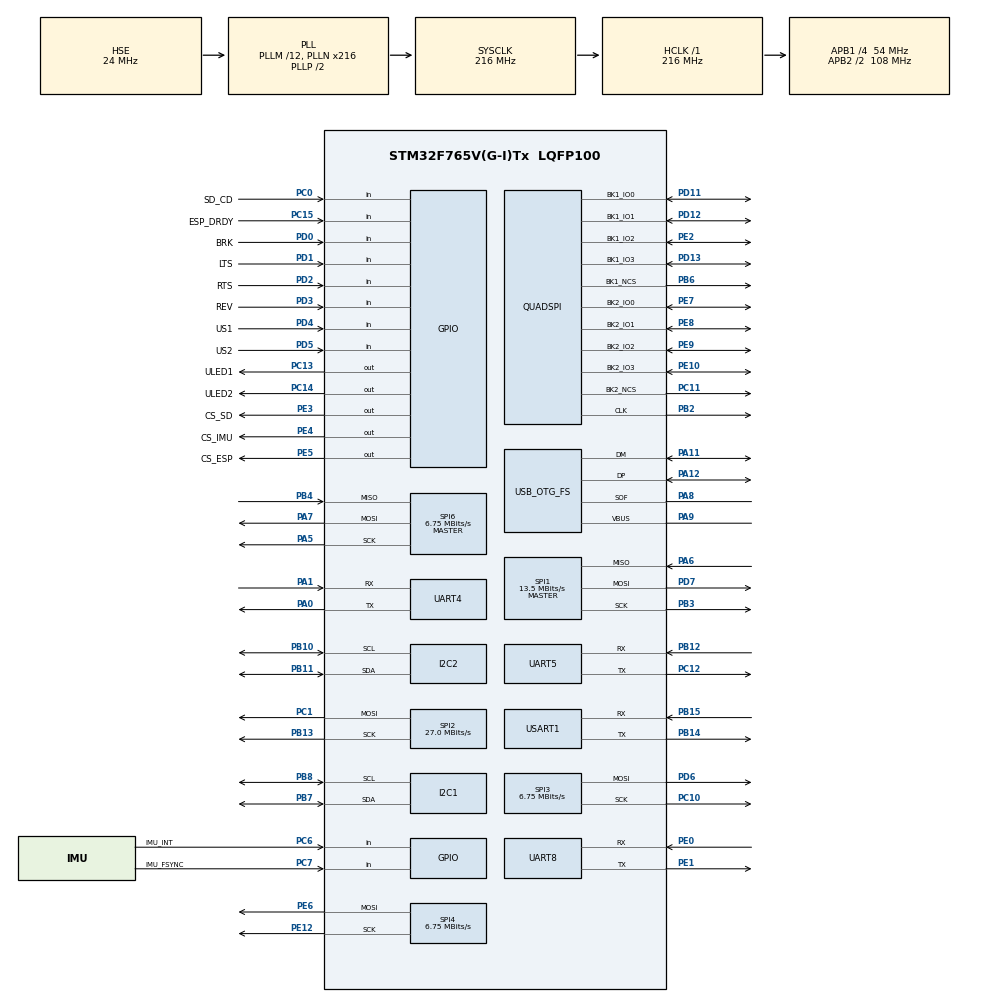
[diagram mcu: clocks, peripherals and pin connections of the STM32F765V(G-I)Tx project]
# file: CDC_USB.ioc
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FREERTOS.Tasks01=defaultTask,0,128,StartDefaultTask,Default,NULL
I2C1.Timing=0x20404768
I2C2.Timing=0x20404768
Mcu.Family=STM32F7
Mcu.Name=STM32F765V(G-I)Tx
Mcu.Package=LQFP100
NVIC.FLASH_IRQn=true\:5\:0\:false\:false\:true\:true\:true
NVIC.FPU_IRQn=true\:5\:0\:false\:false\:true\:true\:true
NVIC.I2C1_ER_IRQn=true\:5\:0\:false\:false\:true\:true\:true
NVIC.I2C1_EV_IRQn=true\:5\:0\:false\:false\:true\:true\:true
NVIC.I2C2_ER_IRQn=true\:5\:0\:false\:false\:true\:true\:true
NVIC.I2C2_EV_IRQn=true\:5\:0\:false\:false\:true\:true\:true
NVIC.OTG_FS_IRQn=true\:5\:0\:false\:false\:true\:true\:false
NVIC.PVD_IRQn=true\:5\:0\:false\:false\:true\:true\:true
NVIC.PriorityGroup=NVIC_PRIORITYGROUP_4
NVIC.QUADSPI_IRQn=true\:5\:0\:false\:false\:true\:true\:true
NVIC.RCC_IRQn=true\:5\:0\:false\:false\:true\:true\:true
NVIC.SPI1_IRQn=true\:5\:0\:false\:false\:true\:true\:true
NVIC.SPI2_IRQn=true\:5\:0\:false\:false\:true\:true\:true
NVIC.SPI3_IRQn=true\:5\:0\:false\:false\:true\:true\:true
NVIC.SPI4_IRQn=true\:5\:0\:false\:false\:true\:true\:true
NVIC.SPI6_IRQn=true\:5\:0\:false\:false\:true\:true\:true
NVIC.TIM7_IRQn=true\:0\:0\:false\:false\:true\:false\:false
NVIC.TimeBase=TIM7_IRQn
NVIC.TimeBaseIP=TIM7
NVIC.UART4_IRQn=true\:5\:0\:false\:false\:true\:true\:true
NVIC.UART5_IRQn=true\:5\:0\:false\:false\:true\:true\:true
NVIC.UART8_IRQn=true\:5\:0\:false\:false\:true\:true\:true
NVIC.USART1_IRQn=true\:5\:0\:false\:false\:true\:true\:true
PA0/WKUP.Mode=Asynchronous
PA0/WKUP.Signal=UART4_TX
PA1.Mode=Asynchronous
PA1.Signal=UART4_RX
PA11.Mode=Device_Only
PA11.Signal=USB_OTG_FS_DM
PA12.Mode=Device_Only
PA12.Signal=USB_OTG_FS_DP
PA13.Mode=Serial_Wire
PA13.Signal=SYS_JTMS-SWDIO
PA14.Mode=Serial_Wire
PA14.Signal=SYS_JTCK-SWCLK
PA5.Mode=Full_Duplex_Master
PA5.Signal=SPI6_SCK
PA6.Mode=Full_Duplex_Master
PA6.Signal=SPI1_MISO
PA7.Mode=Full_Duplex_Master
PA7.Signal=SPI6_MOSI
PA8.Mode=Activate_SOF_FS
PA8.Signal=USB_OTG_FS_SOF
PA9.Mode=Activate_VBUS
PA9.Signal=USB_OTG_FS_VBUS
PB10.Mode=I2C
PB10.Signal=I2C2_SCL
PB11.Mode=I2C
PB11.Signal=I2C2_SDA
PB12.Mode=Asynchronous
PB12.Signal=UART5_RX
PB13.Mode=TX_Only_Simplex_Unidirect_Master
PB13.Signal=SPI2_SCK
PB14.Mode=Asynchronous
PB14.Signal=USART1_TX
PB15.Mode=Asynchronous
PB15.Signal=USART1_RX
PB2.Mode=Dual Bank
PB2.Signal=QUADSPI_CLK
PB3.Mode=Full_Duplex_Master
PB3.Signal=SPI1_SCK
PB4.Mode=Full_Duplex_Master
PB4.Signal=SPI6_MISO
PB6.Mode=Enable Chip Select for each bank
PB6.Signal=QUADSPI_BK1_NCS
PB7.Mode=I2C
PB7.Signal=I2C1_SDA
PB8.Mode=I2C
PB8.Signal=I2C1_SCL
PC0.GPIO_Label=SD_CD
PC0.Signal=GPIO_Input
PC1.Mode=TX_Only_Simplex_Unidirect_Master
PC1.Signal=SPI2_MOSI
PC10.Mode=TX_Only_Simplex_Unidirect_Master
PC10.Signal=SPI3_SCK
PC11.Mode=Enable Chip Select for each bank
PC11.Signal=QUADSPI_BK2_NCS
PC12.Mode=Asynchronous
PC12.Signal=UART5_TX
PC13.GPIO_Label=ULED1
PC13.PinState=GPIO_PIN_SET
PC13.Signal=GPIO_Output
PC14/OSC32_IN.GPIO_Label=ULED2
PC14/OSC32_IN.GPIO_PuPd=GPIO_NOPULL
PC14/OSC32_IN.PinState=GPIO_PIN_SET
PC14/OSC32_IN.Signal=GPIO_Output
PC15/OSC32_OUT.GPIO_Label=ESP_DRDY
PC15/OSC32_OUT.Signal=GPIO_Input
PC6.GPIO_Label=IMU_INT
PC6.Signal=GPIO_Input
PC7.GPIO_Label=IMU_FSYNC
PC7.Signal=GPIO_Input
PD0.GPIO_Label=BRK
PD0.Signal=GPIO_Input
PD1.GPIO_Label=LTS
PD1.Signal=GPIO_Input
PD11.Mode=Dual Bank
PD11.Signal=QUADSPI_BK1_IO0
PD12.Mode=Dual Bank
PD12.Signal=QUADSPI_BK1_IO1
PD13.Mode=Dual Bank
PD13.Signal=QUADSPI_BK1_IO3
PD2.GPIO_Label=RTS
PD2.Signal=GPIO_Input
PD3.GPIO_Label=REV
PD3.Signal=GPIO_Input
PD4.GPIO_Label=US1
PD4.Signal=GPIO_Input
PD5.GPIO_Label=US2
PD5.Signal=GPIO_Input
PD6.Mode=TX_Only_Simplex_Unidirect_Master
PD6.Signal=SPI3_MOSI
PD7.Mode=Full_Duplex_Master
PD7.Signal=SPI1_MOSI
PE0.Mode=Asynchronous
PE0.Signal=UART8_RX
PE1.Mode=Asynchronous
PE1.Signal=UART8_TX
PE10.Mode=Dual Bank
PE10.Signal=QUADSPI_BK2_IO3
PE12.Mode=TX_Only_Simplex_Unidirect_Master
PE12.Signal=SPI4_SCK
PE2.Mode=Dual Bank
PE2.Signal=QUADSPI_BK1_IO2
PE3.GPIO_Label=CS_SD
PE3.GPIO_Speed=GPIO_SPEED_FREQ_VERY_HIGH
PE3.PinState=GPIO_PIN_SET
PE3.Signal=GPIO_Output
PE4.GPIO_Label=CS_IMU
PE4.GPIO_PuPd=GPIO_NOPULL
PE4.GPIO_Speed=GPIO_SPEED_FREQ_VERY_HIGH
PE4.PinState=GPIO_PIN_SET
PE4.Signal=GPIO_Output
PE5.GPIO_Label=CS_ESP
PE5.GPIO_PuPd=GPIO_NOPULL
PE5.GPIO_Speed=GPIO_SPEED_FREQ_VERY_HIGH
PE5.PinState=GPIO_PIN_SET
PE5.Signal=GPIO_Output
PE6.Mode=TX_Only_Simplex_Unidirect_Master
PE6.Signal=SPI4_MOSI
PE7.Mode=Dual Bank
PE7.Signal=QUADSPI_BK2_IO0
PE8.Mode=Dual Bank
PE8.Signal=QUADSPI_BK2_IO1
PE9.Mode=Dual Bank
PE9.Signal=QUADSPI_BK2_IO2
PH0/OSC_IN.Mode=HSE-External-Oscillator
PH0/OSC_IN.Signal=RCC_OSC_IN
PH1/OSC_OUT.Mode=HSE-External-Oscillator
PH1/OSC_OUT.Signal=RCC_OSC_OUT
ProjectManager.HeapSize=0x200
ProjectManager.StackSize=0x400
ProjectManager.TargetToolchain=TrueSTUDIO
QUADSPI.ClockMode=QSPI_CLOCK_MODE_3
QUADSPI.ClockPrescaler=64
RCC.AHBFreq_Value=216000000
RCC.APB1CLKDivider=RCC_HCLK_DIV4
RCC.APB1Freq_Value=54000000
RCC.APB1TimFreq_Value=108000000
RCC.APB2CLKDivider=RCC_HCLK_DIV2
RCC.APB2Freq_Value=108000000
RCC.APB2TimFreq_Value=216000000
RCC.CortexFreq_Value=216000000
RCC.HCLKFreq_Value=216000000
RCC.HSE_VALUE=24000000
RCC.HSI_VALUE=16000000
RCC.LSE_VALUE=32768
RCC.PLLM=12
RCC.PLLN=216
RCC.PLLQ=9
RCC.SYSCLKFreq_VALUE=216000000
RCC.SYSCLKSource=RCC_SYSCLKSOURCE_PLLCLK
RCC.USBFreq_Value=48000000
RCC.VCOOutputFreq_Value=432000000
SPI1.BaudRatePrescaler=SPI_BAUDRATEPRESCALER_8
SPI1.CLKPhase=SPI_PHASE_2EDGE
SPI1.CLKPolarity=SPI_POLARITY_HIGH
SPI1.CalculateBaudRate=13.5 MBits/s
SPI1.DataSize=SPI_DATASIZE_8BIT
SPI1.Direction=SPI_DIRECTION_2LINES
SPI1.Mode=SPI_MODE_MASTER
SPI1.VirtualType=VM_MASTER
SPI2.CalculateBaudRate=27.0 MBits/s
SPI2.Direction=SPI_DIRECTION_2LINES
SPI2.Mode=SPI_MODE_MASTER
SPI2.VirtualType=VM_MASTER
SPI3.BaudRatePrescaler=SPI_BAUDRATEPRESCALER_8
SPI3.CLKPhase=SPI_PHASE_2EDGE
SPI3.CLKPolarity=SPI_POLARITY_HIGH
SPI3.CalculateBaudRate=6.75 MBits/s
SPI3.DataSize=SPI_DATASIZE_8BIT
SPI3.Direction=SPI_DIRECTION_2LINES
SPI3.Mode=SPI_MODE_MASTER
SPI3.VirtualType=VM_MASTER
SPI4.BaudRatePrescaler=SPI_BAUDRATEPRESCALER_16
SPI4.CLKPhase=SPI_PHASE_2EDGE
SPI4.CLKPolarity=SPI_POLARITY_HIGH
SPI4.CalculateBaudRate=6.75 MBits/s
SPI4.DataSize=SPI_DATASIZE_8BIT
SPI4.Direction=SPI_DIRECTION_2LINES
SPI4.Mode=SPI_MODE_MASTER
SPI4.VirtualType=VM_MASTER
SPI6.BaudRatePrescaler=SPI_BAUDRATEPRESCALER_16
SPI6.CLKPhase=SPI_PHASE_2EDGE
SPI6.CLKPolarity=SPI_POLARITY_HIGH
SPI6.CalculateBaudRate=6.75 MBits/s
SPI6.DataSize=SPI_DATASIZE_8BIT
SPI6.Direction=SPI_DIRECTION_2LINES
SPI6.Mode=SPI_MODE_MASTER
SPI6.VirtualType=VM_MASTER
USART1.VirtualMode-Asynchronous=VM_ASYNC
USB_DEVICE.CLASS_NAME_FS=CDC
USB_DEVICE.VirtualMode-CDC_FS=Cdc
USB_DEVICE.VirtualModeFS=Cdc_FS
USB_OTG_FS.VirtualMode=Device_Only
VP_FREERTOS_VS_ENABLE.Mode=Enabled
VP_SYS_VS_tim7.Mode=TIM7
VP_USB_DEVICE_VS_USB_DEVICE_CDC_FS.Mode=CDC_FS
board=custom

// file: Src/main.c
/**
  ******************************************************************************
  * @file           : main.c
  * @brief          : Main program body
  ******************************************************************************
  * This notice applies to any and all portions of this file
  * that are not between comment pairs USER CODE BEGIN and
  * USER CODE END. Other portions of this file, whether
  * inserted by the user or by software development tools
  * are owned by their respective copyright owners.
  *
  * Copyright (c) 2018 STMicroelectronics International N.V.
  * All rights reserved.
  *
  * Redistribution and use in source and binary forms, with or without
  * modification, are permitted, provided that the following conditions are met:
  *
  * 1. Redistribution of source code must retain the above copyright notice,
  *    this list of conditions and the following disclaimer.
  * 2. Redistributions in binary form must reproduce the above copyright notice,
  *    this list of conditions and the following disclaimer in the documentation
  *    and/or other materials provided with the distribution.
  * 3. Neither the name of STMicroelectronics nor the names of other
  *    contributors to this software may be used to endorse or promote products
  *    derived from this software without specific written permission.
  * 4. This software, including modifications and/or derivative works of this
  *    software, must execute solely and exclusively on microcontroller or
  *    microprocessor devices manufactured by or for STMicroelectronics.
  * 5. Redistribution and use of this software other than as permitted under
  *    this license is void and will automatically terminate your rights under
  *    this license.
  *
  * THIS SOFTWARE IS PROVIDED BY STMICROELECTRONICS AND CONTRIBUTORS "AS IS"
  * AND ANY EXPRESS, IMPLIED OR STATUTORY WARRANTIES, INCLUDING, BUT NOT
  * LIMITED TO, THE IMPLIED WARRANTIES OF MERCHANTABILITY, FITNESS FOR A
  * PARTICULAR PURPOSE AND NON-INFRINGEMENT OF THIRD PARTY INTELLECTUAL PROPERTY
  * RIGHTS ARE DISCLAIMED TO THE FULLEST EXTENT PERMITTED BY LAW. IN NO EVENT
  * SHALL STMICROELECTRONICS OR CONTRIBUTORS BE LIABLE FOR ANY DIRECT, INDIRECT,
  * INCIDENTAL, SPECIAL, EXEMPLARY, OR CONSEQUENTIAL DAMAGES (INCLUDING, BUT NOT
  * LIMITED TO, PROCUREMENT OF SUBSTITUTE GOODS OR SERVICES; LOSS OF USE, DATA,
  * OR PROFITS; OR BUSINESS INTERRUPTION) HOWEVER CAUSED AND ON ANY THEORY OF
  * LIABILITY, WHETHER IN CONTRACT, STRICT LIABILITY, OR TORT (INCLUDING
  * NEGLIGENCE OR OTHERWISE) ARISING IN ANY WAY OUT OF THE USE OF THIS SOFTWARE,
  * EVEN IF ADVISED OF THE POSSIBILITY OF SUCH DAMAGE.
  *
  ******************************************************************************
  */
#include "main.h"
#include "stm32f7xx_hal.h"
#include "cmsis_os.h"
#include "i2c.h"
#include "quadspi.h"
#include "spi.h"
#include "usart.h"
#include "usb_device.h"
#include "gpio.h"

/* USER CODE BEGIN Includes */

#include "buffers.h"
#include "usbd_cdc_if.h"

/* USER CODE END Includes */

/* USER CODE BEGIN PV */
/* Private variables ---------------------------------------------------------*/

uint8_t rxbuff[BUFF_LEN];
uint8_t txbuff[BUFF_LEN];

buffer_manager_t rxman;
buffer_manager_t txman;

/* USER CODE END PV */

void SystemClock_Config(void);
void MX_FREERTOS_Init(void);

/* USER CODE BEGIN PFP */
/* Private function prototypes -----------------------------------------------*/

TaskHandle_t Buffer_Task_Handle = NULL;
void Buffer_Task(void* pvParameters )
{

	for(;;)
	{
		// Transfer from one buffer to another, and transmit as needed

		while( available(&rxman) != 0 )
		{
			uint8_t c = read(&rxman);
			insert(&txman, c);
		}

		uint8_t sendbuff[BUFF_LEN];
		uint32_t num2send = 0;
		if( available(&txman) != 0)
		{
			if( txman.writeOffset == txman.readOffset)
			{
				if(txman.readOk)
				{
					num2send = txman.len - txman.readOffset; // Just send all the parts
				}
			}
			else if( txman.writeOffset > txman.readOffset )
			{
				num2send = available(&txman);
			}
			else
			{
				num2send = txman.len - txman.readOffset;
			}

			if( num2send != 0)
			{
				for(uint32_t indi = 0; indi < num2send; indi++)
				{
					sendbuff[indi] = read(&txman);
				}

				CDC_Transmit_FS(sendbuff, (uint16_t)num2send);

				USBD_CDC_HandleTypeDef *hcdc = (USBD_CDC_HandleTypeDef*)hUsbDeviceFS.pClassData;
				while(hcdc->TxState != 0 )
				{
					// Wait for the transmitter to be ready again
				}
			}
		}

	}
}

/* USER CODE END PFP */

int main(void)
{

  /* MCU Configuration----------------------------------------------------------*/

  /* Reset of all peripherals, Initializes the Flash interface and the Systick. */
  HAL_Init();

  /* Configure the system clock */
  SystemClock_Config();

  /* Initialize all configured peripherals */
  MX_GPIO_Init();
  MX_UART4_Init();
  MX_UART5_Init();
  MX_UART8_Init();
  MX_SPI1_Init();
  MX_SPI6_Init();
  MX_SPI3_Init();
  MX_SPI4_Init();
  MX_QUADSPI_Init();
  MX_I2C1_Init();
  MX_I2C2_Init();
  MX_SPI2_Init();
  MX_USART1_UART_Init();
  /* USER CODE BEGIN 2 */

  xTaskCreate(Buffer_Task,
    		  (const char* const)"Buffer",
    		  configMINIMAL_STACK_SIZE,
    		  0,
    		  3,
    		  &Buffer_Task_Handle);

  /* USER CODE END 2 */

  /* Call init function for freertos objects (in freertos.c) */
  MX_FREERTOS_Init();

  /* Start scheduler */
  osKernelStart();

  /* We should never get here as control is now taken by the scheduler */

  /* Infinite loop */
  while (1)
  {

  }

}

void SystemClock_Config(void)
{

  RCC_OscInitTypeDef RCC_OscInitStruct;
  RCC_ClkInitTypeDef RCC_ClkInitStruct;
  RCC_PeriphCLKInitTypeDef PeriphClkInitStruct;

    /**Configure the main internal regulator output voltage
    */
  __HAL_RCC_PWR_CLK_ENABLE();

  __HAL_PWR_VOLTAGESCALING_CONFIG(PWR_REGULATOR_VOLTAGE_SCALE1);

    /**Initializes the CPU, AHB and APB busses clocks
    */
  RCC_OscInitStruct.OscillatorType = RCC_OSCILLATORTYPE_HSE;
  RCC_OscInitStruct.HSEState = RCC_HSE_ON;
  RCC_OscInitStruct.PLL.PLLState = RCC_PLL_ON;
  RCC_OscInitStruct.PLL.PLLSource = RCC_PLLSOURCE_HSE;
  RCC_OscInitStruct.PLL.PLLM = 12;
  RCC_OscInitStruct.PLL.PLLN = 216;
  RCC_OscInitStruct.PLL.PLLP = RCC_PLLP_DIV2;
  RCC_OscInitStruct.PLL.PLLQ = 9;
  if (HAL_RCC_OscConfig(&RCC_OscInitStruct) != HAL_OK)
  {
    _Error_Handler(__FILE__, __LINE__);
  }

    /**Activate the Over-Drive mode
    */
  if (HAL_PWREx_EnableOverDrive() != HAL_OK)
  {
    _Error_Handler(__FILE__, __LINE__);
  }

    /**Initializes the CPU, AHB and APB busses clocks
    */
  RCC_ClkInitStruct.ClockType = RCC_CLOCKTYPE_HCLK|RCC_CLOCKTYPE_SYSCLK
                              |RCC_CLOCKTYPE_PCLK1|RCC_CLOCKTYPE_PCLK2;
  RCC_ClkInitStruct.SYSCLKSource = RCC_SYSCLKSOURCE_PLLCLK;
  RCC_ClkInitStruct.AHBCLKDivider = RCC_SYSCLK_DIV1;
  RCC_ClkInitStruct.APB1CLKDivider = RCC_HCLK_DIV4;
  RCC_ClkInitStruct.APB2CLKDivider = RCC_HCLK_DIV2;

  if (HAL_RCC_ClockConfig(&RCC_ClkInitStruct, FLASH_LATENCY_7) != HAL_OK)
  {
    _Error_Handler(__FILE__, __LINE__);
  }

  PeriphClkInitStruct.PeriphClockSelection = RCC_PERIPHCLK_USART1|RCC_PERIPHCLK_UART4
                              |RCC_PERIPHCLK_UART5|RCC_PERIPHCLK_UART8
                              |RCC_PERIPHCLK_I2C1|RCC_PERIPHCLK_I2C2
                              |RCC_PERIPHCLK_CLK48;
  PeriphClkInitStruct.Usart1ClockSelection = RCC_USART1CLKSOURCE_PCLK2;
  PeriphClkInitStruct.Uart4ClockSelection = RCC_UART4CLKSOURCE_PCLK1;
  PeriphClkInitStruct.Uart5ClockSelection = RCC_UART5CLKSOURCE_PCLK1;
  PeriphClkInitStruct.Uart8ClockSelection = RCC_UART8CLKSOURCE_PCLK1;
  PeriphClkInitStruct.I2c1ClockSelection = RCC_I2C1CLKSOURCE_PCLK1;
  PeriphClkInitStruct.I2c2ClockSelection = RCC_I2C2CLKSOURCE_PCLK1;
  PeriphClkInitStruct.Clk48ClockSelection = RCC_CLK48SOURCE_PLL;
  if (HAL_RCCEx_PeriphCLKConfig(&PeriphClkInitStruct) != HAL_OK)
  {
    _Error_Handler(__FILE__, __LINE__);
  }

    /**Configure the Systick interrupt time
    */
  HAL_SYSTICK_Config(HAL_RCC_GetHCLKFreq()/1000);

    /**Configure the Systick
    */
  HAL_SYSTICK_CLKSourceConfig(SYSTICK_CLKSOURCE_HCLK);

  /* SysTick_IRQn interrupt configuration */
  HAL_NVIC_SetPriority(SysTick_IRQn, 15, 0);
}

void HAL_TIM_PeriodElapsedCallback(TIM_HandleTypeDef *htim)
{
  if (htim->Instance == TIM7) {
    HAL_IncTick();
  }
}

void _Error_Handler(char *file, int line)
{
  while(1)
  {
  }
}

/************************ (C) COPYRIGHT STMicroelectronics *****END OF FILE****/
